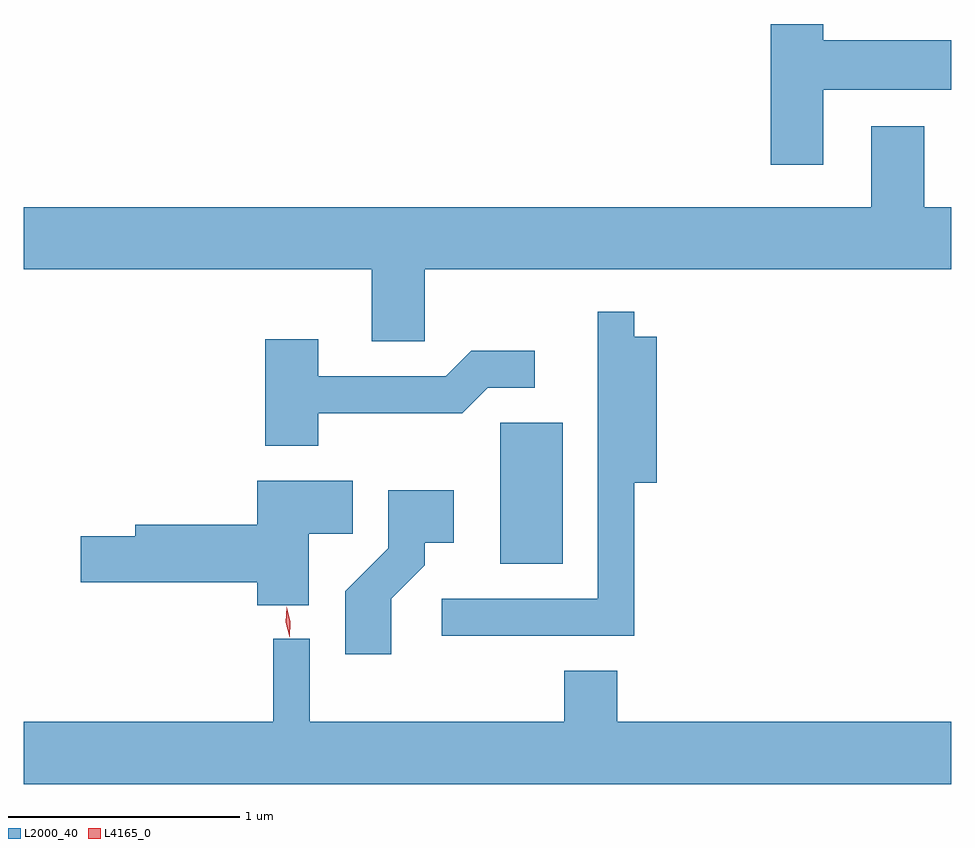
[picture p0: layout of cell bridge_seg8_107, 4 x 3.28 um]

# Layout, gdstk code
import gdstk
lib = gdstk.Library(unit=1e-6, precision=1e-09)
def R(c, l, rs):  # rectangles x0, y0, x1, y1
    for r in rs: c.add(gdstk.rectangle(r[:2], r[2:], *l))
def P(c, l, *ps):  # polygons
    for p in ps: c.add(gdstk.Polygon(p, *l))
L2000_40 = (2000, 40)
L4165_0 = (4165, 0)

bridge_seg8_107 = lib.new_cell('bridge_seg8_107')
R(bridge_seg8_107, L2000_40, [(1564.246,1832.926,1564.514,1833.534)])
P(bridge_seg8_107, L2000_40, [(1565.639,1834.971),(1566.19,1834.971),(1566.19,1835.184),(1565.639,1835.184),(1565.639,1835.254),(1565.411,1835.254),(1565.411,1834.646),(1565.639,1834.646)],
  [(1563.919,1834.196),(1566.19,1834.196),(1566.19,1834.464),(1566.074,1834.464),(1566.074,1834.814),(1565.846,1834.814),(1565.846,1834.464),(1562.19,1834.464),(1562.19,1834.196),(1563.691,1834.196),(1563.691,1833.886),(1563.919,1833.886)],
  [(1564.824,1833.276),(1564.919,1833.276),(1564.919,1833.904),(1564.824,1833.904),(1564.824,1834.013),(1564.666,1834.013),(1564.666,1832.774),(1563.993,1832.774),(1563.993,1832.616),(1564.824,1832.616)],
  [(1563.459,1833.576),(1564.082,1833.576),(1564.192,1833.686),(1564.393,1833.686),(1564.393,1833.844),(1564.119,1833.844),(1564.009,1833.734),(1563.459,1833.734),(1563.459,1833.894),(1563.231,1833.894),(1563.231,1833.436),(1563.459,1833.436)],
  [(1563.419,1833.056),(1563.609,1833.056),(1563.609,1833.284),(1563.196,1833.284),(1563.196,1833.094),(1562.671,1833.094),(1562.671,1833.044),(1562.436,1833.044),(1562.436,1832.846),(1563.196,1832.846),(1563.196,1832.746),(1563.419,1832.746)],
  [(1563.774,1832.774),(1563.919,1832.919),(1563.919,1833.016),(1564.044,1833.016),(1564.044,1833.244),(1563.761,1833.244),(1563.761,1832.992),(1563.576,1832.807),(1563.576,1832.536),(1563.774,1832.536)],
  [(1566.19,1832.244),(1564.749,1832.244),(1564.749,1832.464),(1564.521,1832.464),(1564.521,1832.244),(1563.424,1832.244),(1563.424,1832.603),(1563.266,1832.603),(1563.266,1832.244),(1562.19,1832.244),(1562.19,1831.976),(1566.19,1831.976)])
P(bridge_seg8_107, L4165_0, [(1563.337,1832.608),(1563.336,1832.609),(1563.32,1832.673),(1563.324,1832.739),(1563.324,1832.74),(1563.325,1832.739),(1563.34,1832.675),(1563.337,1832.609)])

lib.write_gds('bridge_seg8_107.gds')
